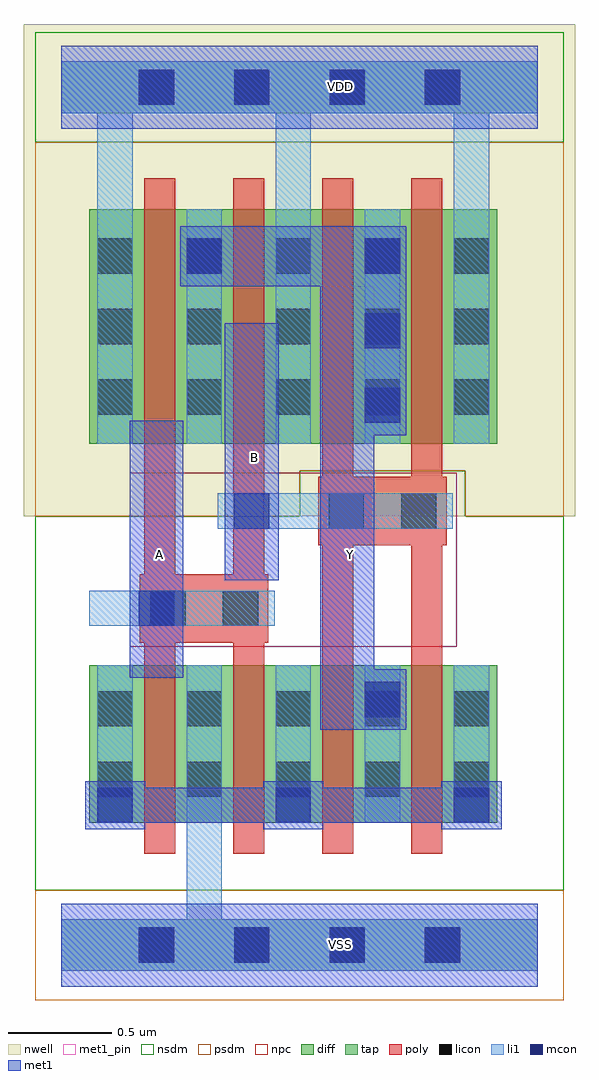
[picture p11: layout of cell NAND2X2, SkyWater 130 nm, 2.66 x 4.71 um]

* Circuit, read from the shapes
.subckt NAND2X2 A B VDD VSS Y
XM1 VSS A n1 VSS sky130_fd_pr__nfet_01v8 w=0.76 l=0.15 m=2
XM2 Y B n1 VSS sky130_fd_pr__nfet_01v8 w=0.76 l=0.15 m=2
XM3 Y A VDD VDD sky130_fd_pr__pfet_01v8 w=1.13 l=0.15 m=2
XM4 Y B VDD VDD sky130_fd_pr__pfet_01v8 w=1.13 l=0.15 m=2
.ends

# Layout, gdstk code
from math import pi, radians
import gdstk
lib = gdstk.Library(unit=1e-6, precision=1e-09)
def R(c, l, rs):  # rectangles x0, y0, x1, y1
    for r in rs: c.add(gdstk.rectangle(r[:2], r[2:], *l))
def A(c, l, x, y, w, h, nx, ny, dx, dy):  # array of equal rectangles
    R(c, l, [(x+i*dx, y+j*dy, x+i*dx+w, y+j*dy+h) for i in range(nx) for j in range(ny)])
def P(c, l, *ps):  # polygons
    for p in ps: c.add(gdstk.Polygon(p, *l))
nwell = (64, 20)
diff = (65, 20)
tap = (65, 44)
poly = (66, 20)
licon = (66, 44)
li1 = (67, 20)
mcon = (67, 44)
met1_pin = (68, 16)
met1 = (68, 20)
nsdm = (93, 44)
psdm = (94, 20)
npc = (95, 20)

l1m1_c_cdns_751554744752 = lib.new_cell('L1M1_C_CDNS_7515547447523')
R(l1m1_c_cdns_751554744752, li1, [(-0.085,-0.085,0.085,0.165)])
R(l1m1_c_cdns_751554744752, mcon, [(-0.085,-0.085,0.085,0.085)])
R(l1m1_c_cdns_751554744752, met1, [(-0.145,-0.115,0.145,0.115)])

l1m1_c_cdns_751554744750 = lib.new_cell('L1M1_C_CDNS_751554744750')
R(l1m1_c_cdns_751554744750, li1, [(-0.165,-0.085,0.165,0.085)])
R(l1m1_c_cdns_751554744750, mcon, [(-0.085,-0.085,0.085,0.085)])
R(l1m1_c_cdns_751554744750, met1, [(-0.115,-0.145,0.115,0.145)])

l1m1_c_cdns_751554744757 = lib.new_cell('L1M1_C_CDNS_751554744757')
R(l1m1_c_cdns_751554744757, li1, [(-0.085,-0.525,0.085,0.525)])
A(l1m1_c_cdns_751554744757, mcon, -0.085, -0.445, 0.17, 0.17, 1, 3, 0, 0.36)
R(l1m1_c_cdns_751554744757, met1, [(-0.115,-0.505,0.115,0.505)])

l1m1_c_cdns_751554744753 = lib.new_cell('L1M1_C_CDNS_751554744753')
R(l1m1_c_cdns_751554744753, li1, [(-0.085,-0.165,0.085,0.165)])
R(l1m1_c_cdns_751554744753, mcon, [(-0.085,-0.085,0.085,0.085)])
R(l1m1_c_cdns_751554744753, met1, [(-0.115,-0.145,0.115,0.145)])

pyl1con_c_cdns_751554744 = lib.new_cell('PYL1CON_C_CDNS_751554744751')
R(pyl1con_c_cdns_751554744, poly, [(-0.135,-0.165,0.135,0.165)])
R(pyl1con_c_cdns_751554744, licon, [(-0.085,-0.085,0.085,0.085)])
R(pyl1con_c_cdns_751554744, npc, [(-0.185,-0.185,0.185,0.185)])

nand2x2 = lib.new_cell('NAND2X2')
R(nand2x2, nwell, [(-0.18,2.07,2.48,4.445)])
R(nand2x2, diff, [(0.135,0.59,2.105,1.35), (0.135,2.42,2.105,3.55)])
P(nand2x2, poly, [(0.98,3.7),(0.83,3.7),(0.83,1.79),(0.55,1.79),(0.55,3.7),(0.4,3.7),(0.4,0.44),(0.55,0.44),(0.55,1.46),(0.83,1.46),(0.83,0.44),(0.98,0.44)],
  [(1.84,3.7),(1.69,3.7),(1.69,2.26),(1.41,2.26),(1.41,3.7),(1.26,3.7),(1.26,0.44),(1.41,0.44),(1.41,1.93),(1.69,1.93),(1.69,0.44),(1.84,0.44)])
A(nand2x2, licon, 0.375, -0.085, 0.17, 0.17, 4, 2, 0.46, 4.14)
A(nand2x2, licon, 0.175, 0.715, 0.17, 0.17, 5, 2, 0.43, 0.34)
A(nand2x2, licon, 0.175, 2.56, 0.17, 0.17, 5, 3, 0.43, 0.34)
A(nand2x2, li1, 1.035, 0.59, 0.17, 0.76, 3, 1, 0.43, 0)
R(nand2x2, li1, [(0.175,0.59,0.345,1.35), (0.605,2.42,0.775,3.55), (1.465,2.42,1.635,3.55)])
P(nand2x2, li1, [(2.3,4.265),(0,4.265),(0,4.015),(0.175,4.015),(0.175,2.42),(0.345,2.42),(0.345,4.015),(1.035,4.015),(1.035,2.42),(1.205,2.42),(1.205,4.015),(1.895,4.015),(1.895,2.42),(2.065,2.42),(2.065,4.015),(2.3,4.015)],
  [(2.3,0.125),(0.775,0.125),(0.775,1.35),(0.605,1.35),(0.605,0.125),(0,0.125),(0,-0.125),(2.3,-0.125)])
A(nand2x2, mcon, 0.375, -0.085, 0.17, 0.17, 4, 2, 0.46, 4.14)
R(nand2x2, met1_pin, [(1.25,1.04,1.51,3.18), (0.33,1.29,0.59,2.53), (0.79,1.76,1.05,3)])
P(nand2x2, met1, [(1.51,3.18),(1.435,3.18),(1.435,3.47),(0.69,3.47),(0.69,3.18),(1.25,3.18),(1.25,1.04),(1.51,1.04)])
R(nand2x2, nsdm, [(-0.125,3.875,2.425,4.405)])
P(nand2x2, nsdm, [(2.425,2.07),(1.95,2.07),(1.95,2.29),(1.15,2.29),(1.15,2.07),(-0.125,2.07),(-0.125,0.265),(2.425,0.265)])
R(nand2x2, psdm, [(-0.125,-0.265,2.425,0.265)])
P(nand2x2, psdm, [(2.425,3.875),(-0.125,3.875),(-0.125,2.07),(1.15,2.07),(1.15,2.29),(1.95,2.29),(1.95,2.07),(2.425,2.07)])
R(nand2x2, npc, [(0.33,1.44,1.91,2.28)])
nand2x2.add(gdstk.FlexPath([(0.995,2.095),(1.89,2.095)], 0.17, ends="flush", simple_path=True, layer=67, datatype=20))  # li1
nand2x2.add(gdstk.FlexPath([(0.135,1.625),(1.03,1.625)], 0.17, ends="flush", simple_path=True, layer=67, datatype=20))  # li1
nand2x2.add(gdstk.FlexPath([(0,4.14),(2.3,4.14)], 0.4, ends="flush", simple_path=True, layer=68, datatype=20))  # met1
nand2x2.add(gdstk.FlexPath([(0.92,1.76),(0.92,3)], 0.26, ends="flush", simple_path=True, layer=68, datatype=20))  # met1
nand2x2.add(gdstk.FlexPath([(0,0),(2.3,0)], 0.4, ends="flush", simple_path=True, layer=68, datatype=20))  # met1
nand2x2.add(gdstk.FlexPath([(0.46,1.29),(0.46,2.53)], 0.26, ends="flush", simple_path=True, layer=68, datatype=20))  # met1
nand2x2.add(gdstk.FlexPath([(0.26,0.675),(1.98,0.675)], 0.17, ends="flush", simple_path=True, layer=68, datatype=20))  # met1
nand2x2.add(gdstk.FlexPath([(0,4.14),(2.3,4.14)], 0.25, ends="flush", simple_path=True, layer=65, datatype=44))  # tap
nand2x2.add(gdstk.FlexPath([(0,0),(2.3,0)], 0.25, ends="flush", simple_path=True, layer=65, datatype=44))  # tap
nand2x2.add(gdstk.FlexPath([(0,0),(2.3,0)], 0.4, ends="flush", simple_path=True, layer=68, datatype=16))  # met1_pin
nand2x2.add(gdstk.FlexPath([(0,4.14),(2.3,4.14)], 0.4, ends="flush", simple_path=True, layer=68, datatype=16))  # met1_pin
nand2x2.add(gdstk.Reference(l1m1_c_cdns_751554744752, (0.26,0.675)))
nand2x2.add(gdstk.Reference(l1m1_c_cdns_751554744752, (1.12,0.675)))
nand2x2.add(gdstk.Reference(l1m1_c_cdns_751554744752, (1.98,0.675)))
nand2x2.add(gdstk.Reference(l1m1_c_cdns_751554744750, (0.92,2.095), x_reflection=True))
nand2x2.add(gdstk.Reference(l1m1_c_cdns_751554744750, (0.46,1.625), x_reflection=True))
nand2x2.add(gdstk.Reference(l1m1_c_cdns_751554744757, (1.55,2.965)))
nand2x2.add(gdstk.Reference(l1m1_c_cdns_751554744753, (0.69,3.325)))
nand2x2.add(gdstk.Reference(l1m1_c_cdns_751554744753, (1.55,1.185)))
nand2x2.add(gdstk.Reference(pyl1con_c_cdns_751554744, (1.375,2.095), rotation=pi, x_reflection=True))
nand2x2.add(gdstk.Reference(pyl1con_c_cdns_751554744, (1.725,2.095), rotation=pi, x_reflection=True))
nand2x2.add(gdstk.Reference(pyl1con_c_cdns_751554744, (0.515,1.625), rotation=pi, x_reflection=True))
nand2x2.add(gdstk.Reference(pyl1con_c_cdns_751554744, (0.865,1.625), rotation=pi, x_reflection=True))
nand2x2.add(gdstk.Label('B', (0.935,2.355), layer=68, texttype=5))
nand2x2.add(gdstk.Label('Y', (1.395,1.885), layer=68, texttype=5))
nand2x2.add(gdstk.Label('VDD', (1.35,4.145), layer=68, texttype=5))
nand2x2.add(gdstk.Label('VSS', (1.35,0.005), layer=68, texttype=5))
nand2x2.add(gdstk.Label('A', (0.475,1.885), layer=68, texttype=5))

lib.write_gds('NAND2X2.gds')
